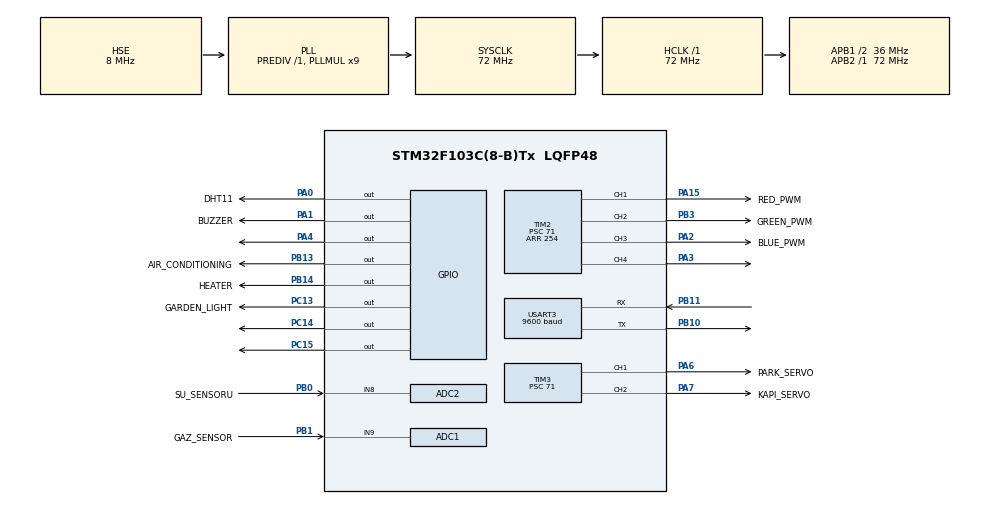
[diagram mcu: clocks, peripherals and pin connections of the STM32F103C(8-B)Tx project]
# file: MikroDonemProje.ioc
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ADC1.Channel-3\#ChannelRegularConversion=ADC_CHANNEL_9
ADC1.NbrOfConversion=1
ADC1.NbrOfConversionFlag=1
ADC1.Rank-3\#ChannelRegularConversion=1
ADC1.SamplingTime-3\#ChannelRegularConversion=ADC_SAMPLETIME_1CYCLE_5
ADC1.master=1
ADC2.Channel-3\#ChannelRegularConversion=ADC_CHANNEL_8
ADC2.NbrOfConversionFlag=1
ADC2.Rank-3\#ChannelRegularConversion=1
ADC2.SamplingTime-3\#ChannelRegularConversion=ADC_SAMPLETIME_1CYCLE_5
Dma.ADC1.0.Direction=DMA_PERIPH_TO_MEMORY
Dma.ADC1.0.Instance=DMA1_Channel1
Dma.ADC1.0.MemDataAlignment=DMA_MDATAALIGN_HALFWORD
Dma.ADC1.0.MemInc=DMA_MINC_ENABLE
Dma.ADC1.0.Mode=DMA_CIRCULAR
Dma.ADC1.0.PeriphDataAlignment=DMA_PDATAALIGN_HALFWORD
Dma.ADC1.0.PeriphInc=DMA_PINC_DISABLE
Dma.ADC1.0.Priority=DMA_PRIORITY_LOW
Dma.Request0=ADC1
Mcu.Family=STM32F1
Mcu.Name=STM32F103C(8-B)Tx
Mcu.Package=LQFP48
NVIC.DMA1_Channel1_IRQn=true\:0\:0\:false\:false\:true\:false\:true\:true
NVIC.PriorityGroup=NVIC_PRIORITYGROUP_4
NVIC.TIM1_UP_IRQn=true\:0\:0\:false\:false\:true\:true\:true\:true
NVIC.TIM4_IRQn=true\:0\:0\:false\:false\:true\:true\:true\:true
NVIC.USART3_IRQn=true\:0\:0\:false\:false\:true\:true\:true\:true
PA0-WKUP.GPIO_Label=DHT11
PA0-WKUP.Signal=GPIO_Output
PA1.GPIO_Label=BUZZER
PA1.GPIO_PuPd=GPIO_PULLDOWN
PA1.GPIO_Speed=GPIO_SPEED_FREQ_LOW
PA1.Signal=GPIO_Output
PA13.Mode=Serial_Wire
PA13.Signal=SYS_JTMS-SWDIO
PA14.Mode=Serial_Wire
PA14.Signal=SYS_JTCK-SWCLK
PA15.GPIO_Label=RED_PWM
PA15.Signal=S_TIM2_CH1_ETR
PA2.GPIO_Label=BLUE_PWM
PA2.Signal=S_TIM2_CH3
PA3.Signal=S_TIM2_CH4
PA4.Signal=GPIO_Output
PA6.GPIO_Label=PARK_SERVO
PA6.Signal=S_TIM3_CH1
PA7.GPIO_Label=KAPI_SERVO
PA7.Signal=S_TIM3_CH2
PB0.GPIO_Label=SU_SENSORU
PB0.Signal=ADCx_IN8
PB1.GPIO_Label=GAZ_SENSOR
PB1.Signal=ADCx_IN9
PB10.Mode=Asynchronous
PB10.Signal=USART3_TX
PB11.Mode=Asynchronous
PB11.Signal=USART3_RX
PB13.GPIO_Label=AIR_CONDITIONING
PB13.Signal=GPIO_Output
PB14.GPIO_Label=HEATER
PB14.Signal=GPIO_Output
PB3.GPIO_Label=GREEN_PWM
PB3.Signal=S_TIM2_CH2
PC13-TAMPER-RTC.GPIO_Label=GARDEN_LIGHT
PC13-TAMPER-RTC.GPIO_PuPd=GPIO_PULLDOWN
PC13-TAMPER-RTC.Signal=GPIO_Output
PC14-OSC32_IN.Signal=GPIO_Output
PC15-OSC32_OUT.Signal=GPIO_Output
PD0-OSC_IN.Mode=HSE-External-Oscillator
PD0-OSC_IN.Signal=RCC_OSC_IN
PD1-OSC_OUT.Mode=HSE-External-Oscillator
PD1-OSC_OUT.Signal=RCC_OSC_OUT
ProjectManager.HeapSize=0x200
ProjectManager.StackSize=0x400
ProjectManager.TargetToolchain=MDK-ARM V5.32
RCC.ADCPresc=RCC_ADCPCLK2_DIV6
RCC.AHBFreq_Value=72000000
RCC.APB1CLKDivider=RCC_HCLK_DIV2
RCC.APB1Freq_Value=36000000
RCC.APB1TimFreq_Value=72000000
RCC.APB2Freq_Value=72000000
RCC.APB2TimFreq_Value=72000000
RCC.HCLKFreq_Value=72000000
RCC.PLLMUL=RCC_PLL_MUL9
RCC.PLLSourceVirtual=RCC_PLLSOURCE_HSE
RCC.SYSCLKFreq_VALUE=72000000
RCC.SYSCLKSource=RCC_SYSCLKSOURCE_PLLCLK
RCC.USBFreq_Value=72000000
SH.ADCx_IN8.0=ADC2_IN8,IN8
SH.ADCx_IN9.0=ADC1_IN9,IN9
SH.S_TIM2_CH1_ETR.0=TIM2_CH1,PWM Generation1 CH1
SH.S_TIM2_CH2.0=TIM2_CH2,PWM Generation2 CH2
SH.S_TIM2_CH3.0=TIM2_CH3,PWM Generation3 CH3
SH.S_TIM2_CH4.0=TIM2_CH4,PWM Generation4 CH4
SH.S_TIM3_CH1.0=TIM3_CH1,PWM Generation1 CH1
SH.S_TIM3_CH2.0=TIM3_CH2,PWM Generation2 CH2
TIM1.Period=65000
TIM1.Prescaler=10
TIM2.Channel-PWM\ Generation1\ CH1=TIM_CHANNEL_1
TIM2.Channel-PWM\ Generation2\ CH2=TIM_CHANNEL_2
TIM2.Channel-PWM\ Generation3\ CH3=TIM_CHANNEL_3
TIM2.Channel-PWM\ Generation4\ CH4=TIM_CHANNEL_4
TIM2.Period=254
TIM2.Prescaler=71
TIM3.Channel-PWM\ Generation1\ CH1=TIM_CHANNEL_1
TIM3.Channel-PWM\ Generation2\ CH2=TIM_CHANNEL_2
TIM3.Period=19999
TIM3.Prescaler=71
TIM4.Period=39999
TIM4.Prescaler=35999
USART3.BaudRate=9600
USART3.VirtualMode=VM_ASYNC
VP_TIM1_VS_ClockSourceINT.Mode=Internal
VP_TIM3_VS_ClockSourceINT.Mode=Internal
VP_TIM4_VS_ClockSourceINT.Mode=Internal
board=custom

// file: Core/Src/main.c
/* USER CODE BEGIN Header */

/**

  ******************************************************************************
  * @file           : main.c
  * @brief          : Main program body
  ******************************************************************************
  * @attention
  *
  * Copyright (c) 2024 STMicroelectronics.
  * All rights reserved.
  *
  * This software is licensed under terms that can be found in the LICENSE file
  * in the root directory of this software component.
  * If no LICENSE file comes with this software, it is provided AS-IS.
  *
  ******************************************************************************
  */
/* USER CODE END Header */
#include "main.h"

/* USER CODE BEGIN Includes */
	uint16_t RGB_LED_red=0;  // 0-255 ARASINDA DEGER r
	uint8_t RGB_LED_green=0; // 0-255 ARASINDA DEGER g
	uint8_t RGB_LED_blue=0; // 0-255 ARASINDA DEGER b
	uint8_t RGB_LED_brightness=0; // 0-100 ARASINDA DEGER B
	uint8_t DOOR_status= 0; // 0 YADA 1 D
	uint8_t PARK_status= 0; // 0 YADA 1 P
	uint8_t BUZZER_status= 0; // 0 YADA 1 A
	uint8_t GARDEN_LIGHT_status= 0; // 0 YADA 1 G
	uint8_t heaterStatus = 0; //H
	uint8_t airconditioningStatus = 0; // I
	uint8_t targetHeat=0; //T
	uint8_t gasStatus = 0; // Z
	uint8_t waterStatus = 0 ; // W
	uint8_t ledAlarmStatus= 0; //X
	volatile int sendDataSatatus=0;
	uint8_t index;
	uint16_t DOOR_Counter;
	uint16_t PARK_Counter;
	volatile uint8_t dhtFlag=0;
	uint16_t sendDataTimer=0;
	uint8_t deneme=0;
	uint8_t resetAlarm;
	char getData[32];
	uint32_t deneme1;
	uint8_t volatile processingFlag=0;
	float temparature, Humidity;// C - H

	void Read_DataDHT(void);

#define BUFFER_SIZE 256
#include <stdio.h>

	long last= 0 ;
	int i = 0;

	uint16_t gasValue;
	uint16_t doorValue = 0;
	uint8_t channel_1_CCR= 0;
	uint8_t sendValues[50];
	uint8_t channel_2_CCR= 0;
	uint8_t buzzer_flag;
	uint32_t waterSensorValue=0;

	uint32_t step_delay_door = 5;
	uint32_t step_delay_park = 20;

	static uint32_t last_tick_door = 0;
	static uint32_t last_tick_park = 0;
	uint32_t current_tick;

	uint8_t tCelsius = 0;
	volatile uint8_t usartTransmitComplete = 1;

/* USER CODE END Includes */

/* USER CODE BEGIN PTD */
	#include "string.h"
	#include "dataProcessing.h"
	#include "DHT.h"

/* USER CODE END PTD */

ADC_HandleTypeDef hadc1;
ADC_HandleTypeDef hadc2;
DMA_HandleTypeDef hdma_adc1;

TIM_HandleTypeDef htim1;
TIM_HandleTypeDef htim2;
TIM_HandleTypeDef htim3;
TIM_HandleTypeDef htim4;

UART_HandleTypeDef huart3;

/* USER CODE BEGIN PV */

//---- CONTROL STATUS ----

/* USER CODE END PV */

void SystemClock_Config(void);
static void MX_GPIO_Init(void);
static void MX_DMA_Init(void);
static void MX_ADC1_Init(void);
static void MX_TIM2_Init(void);
static void MX_TIM3_Init(void);
static void MX_ADC2_Init(void);
static void MX_TIM1_Init(void);
static void MX_TIM4_Init(void);
static void MX_USART3_UART_Init(void);
/* USER CODE BEGIN PFP */
void setSendingData(char *buffer, size_t buffer_size);
void sendData(void);
void HAL_UART_TxCpltCallback(UART_HandleTypeDef *huart);

DHT_DataTypedef DHT11_Data;

/* USER CODE END PFP */

/* USER CODE BEGIN 0 */

void setWaterValues(){

	if(waterSensorValue>3000){

		BUZZER_status=1;
		ledAlarmStatus=1;
		waterStatus=1;

	}

}

void setGasValues(){

	if(gasValue>3000){

		DOOR_status=1;
		gasStatus=1;
		ledAlarmStatus=1;
		BUZZER_status=1;

	}

}

void kapiParkControl(){

    current_tick = HAL_GetTick();

    if ((current_tick - last_tick_door) >= step_delay_door || (last_tick_door > current_tick && (UINT32_MAX - last_tick_door + current_tick + 1) >= step_delay_door)) {
        last_tick_door = current_tick;

        if (DOOR_status == 1) {
            if (TIM3->CCR2 <= 1350) {
                TIM3->CCR2 += 5;
            } else {
                DOOR_Counter = 0;
            }
        } else if (DOOR_status == 0) {
            if (TIM3->CCR2 >= 300) {
                TIM3->CCR2 -= 5;
            } else {
                DOOR_Counter = 0;
            }
        }
    }

    if ((current_tick - last_tick_park) >= step_delay_park || (last_tick_park > current_tick && (UINT32_MAX - last_tick_park + current_tick + 1) >= step_delay_park)) {
        last_tick_park = current_tick;

        if (PARK_status == 1) {
            if (TIM3->CCR1 <= 2350) {
                TIM3->CCR1 += 5;
            } else {
                PARK_Counter = 0;
            }
        } else if (PARK_status == 0) {
            if (TIM3->CCR1 >= 350) {
                TIM3->CCR1 -= 5;
            } else {
                PARK_Counter = 0;
            }
        }
    }

}

void gardenLightControl(){

	if(GARDEN_LIGHT_status==1){
		HAL_GPIO_WritePin(GPIOC,GPIO_PIN_13,GPIO_PIN_SET);

	}else{

		HAL_GPIO_WritePin(GPIOC,GPIO_PIN_13,GPIO_PIN_RESET);

	}

}

void setSendingData(char *buffer, size_t buffer_size) {
   int index = 0;  // Yerel index degiskeni
index += snprintf(buffer + index, buffer_size - index,
                  "C%d,N%d,r%hu,b%hu,B%hhu,D%hhu,P%hhu,A%hhu,G%hhu,H%hhu,I%hhu,T%hhu,Z%hhu,W%hhu*",
                  (int)temparature, (int)Humidity,
                  RGB_LED_red, RGB_LED_blue, RGB_LED_brightness,
                  DOOR_status, PARK_status, BUZZER_status, GARDEN_LIGHT_status,
                  heaterStatus, airconditioningStatus, targetHeat, gasStatus, waterStatus);

    if (index >= buffer_size) {

    }
}

void sendData() {
    if (usartTransmitComplete) {  // Sadece önceki gönderim tamamlandiysa yeni gönderim yap
        char sendValues[BUFFER_SIZE];  // Fonksiyon kapsaminda buffer tanimla
        setSendingData(sendValues, BUFFER_SIZE);
        HAL_UART_Transmit_IT(&huart3, (uint8_t *)sendValues, strlen(sendValues));
    }
}

void airconditioning_set(uint8_t status){

	if(status){

		HAL_GPIO_WritePin(GPIOB,GPIO_PIN_13,GPIO_PIN_SET);

	}else{

		HAL_GPIO_WritePin(GPIOB,GPIO_PIN_13,GPIO_PIN_RESET);
	}

}

void rgbControl(){

	if(ledAlarmStatus!=1){
	TIM2->CCR1 = (uint8_t)(((uint16_t)RGB_LED_red * (uint16_t)RGB_LED_brightness) / 100) ;
	TIM2->CCR2 = (uint8_t)(((uint16_t)RGB_LED_green * (uint16_t)RGB_LED_brightness) / 100) ;
	TIM2->CCR3 = (uint8_t)(((uint16_t)RGB_LED_blue * (uint16_t)RGB_LED_brightness) / 100) ;
	}

}

void buzzerAc(uint8_t onOff){

	if(onOff==0x01){

		HAL_GPIO_WritePin(GPIOA,GPIO_PIN_1,GPIO_PIN_SET);
	}
	else{
		HAL_GPIO_WritePin(GPIOA,GPIO_PIN_1,GPIO_PIN_RESET);

	}

}

void setResetAlarm(){
	ledAlarmStatus=0;
	BUZZER_status=0;
	waterStatus=0;
	gasStatus=0;

}

/* USER CODE END 0 */

int main(void)
{

  /* MCU Configuration--------------------------------------------------------*/

  /* Reset of all peripherals, Initializes the Flash interface and the Systick. */
  HAL_Init();

  /* Configure the system clock */
  SystemClock_Config();

  /* Initialize all configured peripherals */
  MX_GPIO_Init();
  MX_DMA_Init();
  MX_ADC1_Init();
  MX_TIM2_Init();
  MX_TIM3_Init();
  MX_ADC2_Init();
  MX_TIM1_Init();
  MX_TIM4_Init();
  MX_USART3_UART_Init();
  /* USER CODE BEGIN 2 */
	__HAL_UART_ENABLE_IT(&huart3,UART_IT_RXNE);

	 HAL_TIM_Base_Start(&htim3);
	 HAL_TIM_PWM_Start(&htim2,TIM_CHANNEL_3);
	 HAL_TIM_PWM_Start(&htim2,TIM_CHANNEL_2);
	 HAL_TIM_PWM_Start(&htim2,TIM_CHANNEL_1);
	 HAL_TIM_PWM_Start(&htim3,TIM_CHANNEL_1);
	 HAL_TIM_PWM_Start(&htim3,TIM_CHANNEL_2);

	 HAL_TIM_Base_Start_IT(&htim1);
	 HAL_TIM_Base_Start_IT(&htim4);

	DHT_GetData(&DHT11_Data);
	NVIC_SetPriority(USART1_IRQn, 1);
	TIM3->CCR2= 350;
	TIM3->CCR1= 350;
  /* USER CODE END 2 */

  /* Infinite loop */
  while (1)
  {

    /* USER CODE BEGIN 3 */

		if(sendDataSatatus){

				sendData();
				sendDataSatatus=0;

		}

		if(resetAlarm){

			setResetAlarm();
			resetAlarm=0;

		}

		setWaterValues();

		temparature = DHT11_Data.Temperature;

		Humidity = DHT11_Data.Humidity;

		HAL_ADC_Start(&hadc1);

		HAL_ADC_Start(&hadc2);

		kapiParkControl();

		gasValue=HAL_ADC_GetValue(&hadc1);

		waterSensorValue=HAL_ADC_GetValue(&hadc2);

		gardenLightControl();

		rgbControl();

		setGasValues();

		if(processingFlag){

			process_command();
			processingFlag=0;
			__HAL_UART_ENABLE_IT(&huart3,UART_IT_RXNE);

		}

		if(dhtFlag){
			DHT_GetData(&DHT11_Data);
			dhtFlag=0;

		}

  }
  /* USER CODE END 3 */
}

void SystemClock_Config(void)
{
  RCC_OscInitTypeDef RCC_OscInitStruct = {0};
  RCC_ClkInitTypeDef RCC_ClkInitStruct = {0};
  RCC_PeriphCLKInitTypeDef PeriphClkInit = {0};

  /** Initializes the RCC Oscillators according to the specified parameters
  * in the RCC_OscInitTypeDef structure.
  */
  RCC_OscInitStruct.OscillatorType = RCC_OSCILLATORTYPE_HSE;
  RCC_OscInitStruct.HSEState = RCC_HSE_ON;
  RCC_OscInitStruct.HSEPredivValue = RCC_HSE_PREDIV_DIV1;
  RCC_OscInitStruct.HSIState = RCC_HSI_ON;
  RCC_OscInitStruct.PLL.PLLState = RCC_PLL_ON;
  RCC_OscInitStruct.PLL.PLLSource = RCC_PLLSOURCE_HSE;
  RCC_OscInitStruct.PLL.PLLMUL = RCC_PLL_MUL9;
  if (HAL_RCC_OscConfig(&RCC_OscInitStruct) != HAL_OK)
  {
    Error_Handler();
  }

  /** Initializes the CPU, AHB and APB buses clocks
  */
  RCC_ClkInitStruct.ClockType = RCC_CLOCKTYPE_HCLK|RCC_CLOCKTYPE_SYSCLK
                              |RCC_CLOCKTYPE_PCLK1|RCC_CLOCKTYPE_PCLK2;
  RCC_ClkInitStruct.SYSCLKSource = RCC_SYSCLKSOURCE_PLLCLK;
  RCC_ClkInitStruct.AHBCLKDivider = RCC_SYSCLK_DIV1;
  RCC_ClkInitStruct.APB1CLKDivider = RCC_HCLK_DIV2;
  RCC_ClkInitStruct.APB2CLKDivider = RCC_HCLK_DIV1;

  if (HAL_RCC_ClockConfig(&RCC_ClkInitStruct, FLASH_LATENCY_2) != HAL_OK)
  {
    Error_Handler();
  }
  PeriphClkInit.PeriphClockSelection = RCC_PERIPHCLK_ADC;
  PeriphClkInit.AdcClockSelection = RCC_ADCPCLK2_DIV6;
  if (HAL_RCCEx_PeriphCLKConfig(&PeriphClkInit) != HAL_OK)
  {
    Error_Handler();
  }
}

static void MX_ADC1_Init(void)
{

  ADC_ChannelConfTypeDef sConfig = {0};

  /** Common config
  */
  hadc1.Instance = ADC1;
  hadc1.Init.ScanConvMode = ADC_SCAN_DISABLE;
  hadc1.Init.ContinuousConvMode = DISABLE;
  hadc1.Init.DiscontinuousConvMode = DISABLE;
  hadc1.Init.ExternalTrigConv = ADC_SOFTWARE_START;
  hadc1.Init.DataAlign = ADC_DATAALIGN_RIGHT;
  hadc1.Init.NbrOfConversion = 1;
  if (HAL_ADC_Init(&hadc1) != HAL_OK)
  {
    Error_Handler();
  }

  /** Configure Regular Channel
  */
  sConfig.Channel = ADC_CHANNEL_9;
  sConfig.Rank = ADC_REGULAR_RANK_1;
  sConfig.SamplingTime = ADC_SAMPLETIME_1CYCLE_5;
  if (HAL_ADC_ConfigChannel(&hadc1, &sConfig) != HAL_OK)
  {
    Error_Handler();
  }

}

static void MX_ADC2_Init(void)
{

  ADC_ChannelConfTypeDef sConfig = {0};

  /** Common config
  */
  hadc2.Instance = ADC2;
  hadc2.Init.ScanConvMode = ADC_SCAN_DISABLE;
  hadc2.Init.ContinuousConvMode = DISABLE;
  hadc2.Init.DiscontinuousConvMode = DISABLE;
  hadc2.Init.ExternalTrigConv = ADC_SOFTWARE_START;
  hadc2.Init.DataAlign = ADC_DATAALIGN_RIGHT;
  hadc2.Init.NbrOfConversion = 1;
  if (HAL_ADC_Init(&hadc2) != HAL_OK)
  {
    Error_Handler();
  }

  /** Configure Regular Channel
  */
  sConfig.Channel = ADC_CHANNEL_8;
  sConfig.Rank = ADC_REGULAR_RANK_1;
  sConfig.SamplingTime = ADC_SAMPLETIME_1CYCLE_5;
  if (HAL_ADC_ConfigChannel(&hadc2, &sConfig) != HAL_OK)
  {
    Error_Handler();
  }

}

static void MX_TIM1_Init(void)
{

  TIM_ClockConfigTypeDef sClockSourceConfig = {0};
  TIM_MasterConfigTypeDef sMasterConfig = {0};

  htim1.Instance = TIM1;
  htim1.Init.Prescaler = 10;
  htim1.Init.CounterMode = TIM_COUNTERMODE_UP;
  htim1.Init.Period = 65000;
  htim1.Init.ClockDivision = TIM_CLOCKDIVISION_DIV1;
  htim1.Init.RepetitionCounter = 0;
  htim1.Init.AutoReloadPreload = TIM_AUTORELOAD_PRELOAD_DISABLE;
  if (HAL_TIM_Base_Init(&htim1) != HAL_OK)
  {
    Error_Handler();
  }
  sClockSourceConfig.ClockSource = TIM_CLOCKSOURCE_INTERNAL;
  if (HAL_TIM_ConfigClockSource(&htim1, &sClockSourceConfig) != HAL_OK)
  {
    Error_Handler();
  }
  sMasterConfig.MasterOutputTrigger = TIM_TRGO_RESET;
  sMasterConfig.MasterSlaveMode = TIM_MASTERSLAVEMODE_DISABLE;
  if (HAL_TIMEx_MasterConfigSynchronization(&htim1, &sMasterConfig) != HAL_OK)
  {
    Error_Handler();
  }

}

static void MX_TIM2_Init(void)
{

  TIM_MasterConfigTypeDef sMasterConfig = {0};
  TIM_OC_InitTypeDef sConfigOC = {0};

  htim2.Instance = TIM2;
  htim2.Init.Prescaler = 71;
  htim2.Init.CounterMode = TIM_COUNTERMODE_UP;
  htim2.Init.Period = 254;
  htim2.Init.ClockDivision = TIM_CLOCKDIVISION_DIV1;
  htim2.Init.AutoReloadPreload = TIM_AUTORELOAD_PRELOAD_DISABLE;
  if (HAL_TIM_PWM_Init(&htim2) != HAL_OK)
  {
    Error_Handler();
  }
  sMasterConfig.MasterOutputTrigger = TIM_TRGO_RESET;
  sMasterConfig.MasterSlaveMode = TIM_MASTERSLAVEMODE_DISABLE;
  if (HAL_TIMEx_MasterConfigSynchronization(&htim2, &sMasterConfig) != HAL_OK)
  {
    Error_Handler();
  }
  sConfigOC.OCMode = TIM_OCMODE_PWM1;
  sConfigOC.Pulse = 0;
  sConfigOC.OCPolarity = TIM_OCPOLARITY_HIGH;
  sConfigOC.OCFastMode = TIM_OCFAST_DISABLE;
  if (HAL_TIM_PWM_ConfigChannel(&htim2, &sConfigOC, TIM_CHANNEL_1) != HAL_OK)
  {
    Error_Handler();
  }
  if (HAL_TIM_PWM_ConfigChannel(&htim2, &sConfigOC, TIM_CHANNEL_2) != HAL_OK)
  {
    Error_Handler();
  }
  if (HAL_TIM_PWM_ConfigChannel(&htim2, &sConfigOC, TIM_CHANNEL_3) != HAL_OK)
  {
    Error_Handler();
  }
  if (HAL_TIM_PWM_ConfigChannel(&htim2, &sConfigOC, TIM_CHANNEL_4) != HAL_OK)
  {
    Error_Handler();
  }
  HAL_TIM_MspPostInit(&htim2);

}

static void MX_TIM3_Init(void)
{

  TIM_ClockConfigTypeDef sClockSourceConfig = {0};
  TIM_MasterConfigTypeDef sMasterConfig = {0};
  TIM_OC_InitTypeDef sConfigOC = {0};

  htim3.Instance = TIM3;
  htim3.Init.Prescaler = 71;
  htim3.Init.CounterMode = TIM_COUNTERMODE_UP;
  htim3.Init.Period = 19999;
  htim3.Init.ClockDivision = TIM_CLOCKDIVISION_DIV1;
  htim3.Init.AutoReloadPreload = TIM_AUTORELOAD_PRELOAD_DISABLE;
  if (HAL_TIM_Base_Init(&htim3) != HAL_OK)
  {
    Error_Handler();
  }
  sClockSourceConfig.ClockSource = TIM_CLOCKSOURCE_INTERNAL;
  if (HAL_TIM_ConfigClockSource(&htim3, &sClockSourceConfig) != HAL_OK)
  {
    Error_Handler();
  }
  if (HAL_TIM_PWM_Init(&htim3) != HAL_OK)
  {
    Error_Handler();
  }
  sMasterConfig.MasterOutputTrigger = TIM_TRGO_RESET;
  sMasterConfig.MasterSlaveMode = TIM_MASTERSLAVEMODE_DISABLE;
  if (HAL_TIMEx_MasterConfigSynchronization(&htim3, &sMasterConfig) != HAL_OK)
  {
    Error_Handler();
  }
  sConfigOC.OCMode = TIM_OCMODE_PWM1;
  sConfigOC.Pulse = 0;
  sConfigOC.OCPolarity = TIM_OCPOLARITY_HIGH;
  sConfigOC.OCFastMode = TIM_OCFAST_DISABLE;
  if (HAL_TIM_PWM_ConfigChannel(&htim3, &sConfigOC, TIM_CHANNEL_1) != HAL_OK)
  {
    Error_Handler();
  }
  if (HAL_TIM_PWM_ConfigChannel(&htim3, &sConfigOC, TIM_CHANNEL_2) != HAL_OK)
  {
    Error_Handler();
  }
  HAL_TIM_MspPostInit(&htim3);

}

static void MX_TIM4_Init(void)
{

  TIM_ClockConfigTypeDef sClockSourceConfig = {0};
  TIM_MasterConfigTypeDef sMasterConfig = {0};

  htim4.Instance = TIM4;
  htim4.Init.Prescaler = 35999;
  htim4.Init.CounterMode = TIM_COUNTERMODE_UP;
  htim4.Init.Period = 39999;
  htim4.Init.ClockDivision = TIM_CLOCKDIVISION_DIV1;
  htim4.Init.AutoReloadPreload = TIM_AUTORELOAD_PRELOAD_DISABLE;
  if (HAL_TIM_Base_Init(&htim4) != HAL_OK)
  {
    Error_Handler();
  }
  sClockSourceConfig.ClockSource = TIM_CLOCKSOURCE_INTERNAL;
  if (HAL_TIM_ConfigClockSource(&htim4, &sClockSourceConfig) != HAL_OK)
  {
    Error_Handler();
  }
  sMasterConfig.MasterOutputTrigger = TIM_TRGO_RESET;
  sMasterConfig.MasterSlaveMode = TIM_MASTERSLAVEMODE_DISABLE;
  if (HAL_TIMEx_MasterConfigSynchronization(&htim4, &sMasterConfig) != HAL_OK)
  {
    Error_Handler();
  }

}

static void MX_USART3_UART_Init(void)
{

  huart3.Instance = USART3;
  huart3.Init.BaudRate = 9600;
  huart3.Init.WordLength = UART_WORDLENGTH_8B;
  huart3.Init.StopBits = UART_STOPBITS_1;
  huart3.Init.Parity = UART_PARITY_NONE;
  huart3.Init.Mode = UART_MODE_TX_RX;
  huart3.Init.HwFlowCtl = UART_HWCONTROL_NONE;
  huart3.Init.OverSampling = UART_OVERSAMPLING_16;
  if (HAL_UART_Init(&huart3) != HAL_OK)
  {
    Error_Handler();
  }

}

static void MX_DMA_Init(void)
{

  /* DMA controller clock enable */
  __HAL_RCC_DMA1_CLK_ENABLE();

  /* DMA interrupt init */
  /* DMA1_Channel1_IRQn interrupt configuration */
  HAL_NVIC_SetPriority(DMA1_Channel1_IRQn, 0, 0);
  HAL_NVIC_EnableIRQ(DMA1_Channel1_IRQn);

}

static void MX_GPIO_Init(void)
{
  GPIO_InitTypeDef GPIO_InitStruct = {0};

  /* GPIO Ports Clock Enable */
  __HAL_RCC_GPIOC_CLK_ENABLE();
  __HAL_RCC_GPIOD_CLK_ENABLE();
  __HAL_RCC_GPIOA_CLK_ENABLE();
  __HAL_RCC_GPIOB_CLK_ENABLE();

  /*Configure GPIO pin Output Level */
  HAL_GPIO_WritePin(GPIOC, GARDEN_LIGHT_Pin|GPIO_PIN_14|GPIO_PIN_15, GPIO_PIN_RESET);

  /*Configure GPIO pin Output Level */
  HAL_GPIO_WritePin(GPIOA, DHT11_Pin|BUZZER_Pin|GPIO_PIN_4, GPIO_PIN_RESET);

  /*Configure GPIO pin Output Level */
  HAL_GPIO_WritePin(GPIOB, AIR_CONDITIONING_Pin|HEATER_Pin, GPIO_PIN_RESET);

  /*Configure GPIO pin : GARDEN_LIGHT_Pin */
  GPIO_InitStruct.Pin = GARDEN_LIGHT_Pin;
  GPIO_InitStruct.Mode = GPIO_MODE_OUTPUT_PP;
  GPIO_InitStruct.Pull = GPIO_PULLDOWN;
  GPIO_InitStruct.Speed = GPIO_SPEED_FREQ_LOW;
  HAL_GPIO_Init(GARDEN_LIGHT_GPIO_Port, &GPIO_InitStruct);

  /*Configure GPIO pins : PC14 PC15 */
  GPIO_InitStruct.Pin = GPIO_PIN_14|GPIO_PIN_15;
  GPIO_InitStruct.Mode = GPIO_MODE_OUTPUT_PP;
  GPIO_InitStruct.Pull = GPIO_NOPULL;
  GPIO_InitStruct.Speed = GPIO_SPEED_FREQ_LOW;
  HAL_GPIO_Init(GPIOC, &GPIO_InitStruct);

  /*Configure GPIO pins : DHT11_Pin PA4 */
  GPIO_InitStruct.Pin = DHT11_Pin|GPIO_PIN_4;
  GPIO_InitStruct.Mode = GPIO_MODE_OUTPUT_PP;
  GPIO_InitStruct.Pull = GPIO_NOPULL;
  GPIO_InitStruct.Speed = GPIO_SPEED_FREQ_LOW;
  HAL_GPIO_Init(GPIOA, &GPIO_InitStruct);

  /*Configure GPIO pin : BUZZER_Pin */
  GPIO_InitStruct.Pin = BUZZER_Pin;
  GPIO_InitStruct.Mode = GPIO_MODE_OUTPUT_PP;
  GPIO_InitStruct.Pull = GPIO_PULLDOWN;
  GPIO_InitStruct.Speed = GPIO_SPEED_FREQ_LOW;
  HAL_GPIO_Init(BUZZER_GPIO_Port, &GPIO_InitStruct);

  /*Configure GPIO pins : AIR_CONDITIONING_Pin HEATER_Pin */
  GPIO_InitStruct.Pin = AIR_CONDITIONING_Pin|HEATER_Pin;
  GPIO_InitStruct.Mode = GPIO_MODE_OUTPUT_PP;
  GPIO_InitStruct.Pull = GPIO_NOPULL;
  GPIO_InitStruct.Speed = GPIO_SPEED_FREQ_LOW;
  HAL_GPIO_Init(GPIOB, &GPIO_InitStruct);

}

void Error_Handler(void)
{
  __disable_irq();
  while (1)
  {
  }
}
